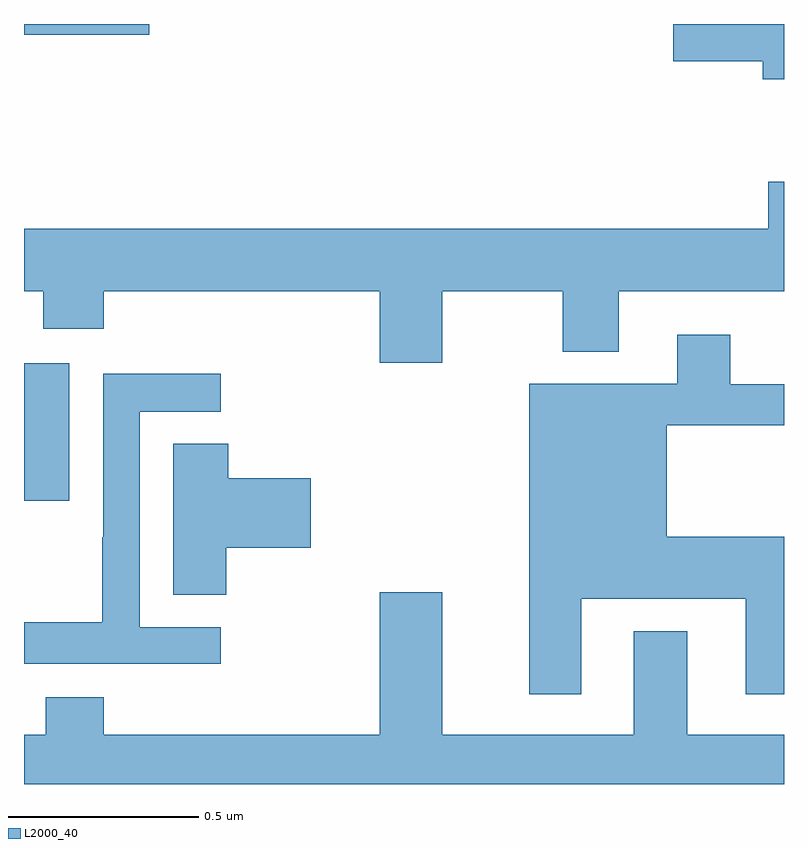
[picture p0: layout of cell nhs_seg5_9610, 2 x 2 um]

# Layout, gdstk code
import gdstk
lib = gdstk.Library(unit=1e-6, precision=1e-09)
def R(c, l, rs):  # rectangles x0, y0, x1, y1
    for r in rs: c.add(gdstk.rectangle(r[:2], r[2:], *l))
def P(c, l, *ps):  # polygons
    for p in ps: c.add(gdstk.Polygon(p, *l))
L2000_40 = (2000, 40)

nhs_seg5_9610 = lib.new_cell('nhs_seg5_9610')
R(nhs_seg5_9610, L2000_40, [(236,853.545,236.119,853.906), (236,854.771,236.329,854.799)])
P(nhs_seg5_9610, L2000_40, [(238,854.799),(237.708,854.799),(237.708,854.701),(237.944,854.701),(237.944,854.654),(238,854.654)],
  [(237.1,854.096),(237.418,854.096),(237.418,853.937),(237.565,853.937),(237.565,854.096),(238,854.096),(238,854.384),(237.959,854.384),(237.959,854.26),(236,854.26),(236,854.096),(236.05,854.096),(236.05,853.997),(236.21,853.997),(236.21,854.096),(236.936,854.096),(236.936,853.908),(237.1,853.908)],
  [(237.466,853.286),(237.899,853.286),(237.899,853.035),(238,853.035),(238,853.45),(237.691,853.45),(237.691,853.743),(238,853.743),(238,853.851),(237.859,853.851),(237.859,853.981),(237.719,853.981),(237.719,853.852),(237.329,853.852),(237.329,853.035),(237.466,853.035)],
  [(236.518,853.212),(236.304,853.212),(236.304,853.779),(236.518,853.779),(236.518,853.878),(236.208,853.878),(236.208,853.448),(236.206,853.448),(236.206,853.225),(236,853.225),(236,853.116),(236.518,853.116)],
  [(236.532,853.421),(236.755,853.421),(236.755,853.604),(236.537,853.604),(236.537,853.694),(236.393,853.694),(236.393,853.297),(236.532,853.297)],
  [(238,852.928),(237.745,852.928),(237.745,853.201),(237.605,853.201),(237.605,852.928),(237.1,852.928),(237.1,853.303),(236.936,853.303),(236.936,852.928),(236.21,852.928),(236.21,853.027),(236.057,853.027),(236.057,852.928),(236,852.928),(236,852.799),(238,852.799)])

lib.write_gds('nhs_seg5_9610.gds')
